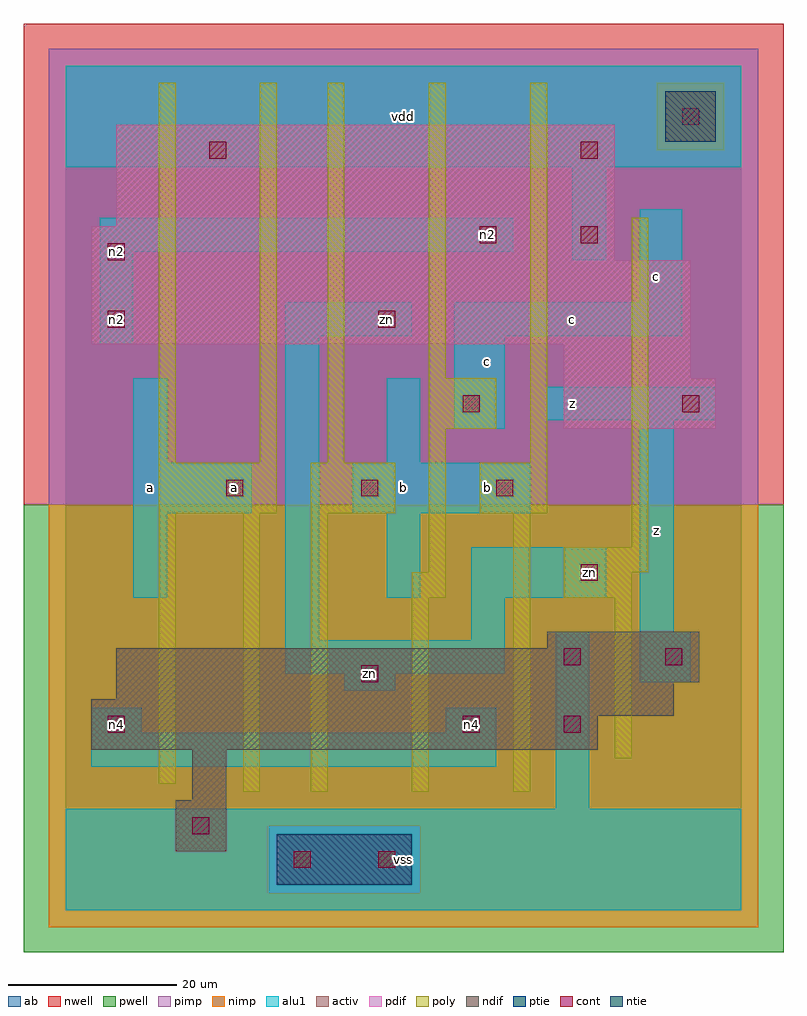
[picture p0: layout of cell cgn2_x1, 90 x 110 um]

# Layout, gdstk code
import gdstk
lib = gdstk.Library(unit=1e-6, precision=1e-09)
def R(c, l, rs):  # rectangles x0, y0, x1, y1
    for r in rs: c.add(gdstk.rectangle(r[:2], r[2:], *l))
def A(c, l, x, y, w, h, nx, ny, dx, dy):  # array of equal rectangles
    R(c, l, [(x+i*dx, y+j*dy, x+i*dx+w, y+j*dy+h) for i in range(nx) for j in range(ny)])
ndif = (3, 0)
pdif = (4, 0)
ntie = (5, 0)
ptie = (6, 0)
cont = (25, 0)
pwell = (41, 0)
nwell = (42, 0)
activ = (43, 0)
pimp = (44, 0)
nimp = (45, 0)
poly = (46, 0)
alu1 = (49, 0)
ab = (63, 0)

cgn2_x1 = lib.new_cell('cgn2_x1')
R(cgn2_x1, ndif, [(13,7,19,13), (15,13,19,19), (3,19,63,23), (3,23,72,25), (6,25,72,27), (6,27,75,31), (57,31,75,33)])
R(cgn2_x1, pdif, [(59,57,77,63), (59,63,74,67), (3,67,74,77), (3,77,65,81), (6,81,65,93)])
R(cgn2_x1, ntie, [(71,91,77,97)])
R(cgn2_x1, ptie, [(25,3,41,9)])
A(cgn2_x1, cont, 19, 49, 2, 2, 3, 1, 16, 0)
R(cgn2_x1, cont, [(27,5,29,7), (37,5,39,7), (15,9,17,11), (5,21,7,23), (47,21,49,23), (59,21,61,23), (35,27,37,29), (59,29,61,31), (71,29,73,31), (61,39,63,41), (47,59,49,61), (73,59,75,61), (5,69,7,71), (37,69,39,71), (5,77,7,79), (49,79,51,81), (61,79,63,81), (17,89,19,91), (61,89,63,91), (73,93,75,95)])
R(cgn2_x1, pwell, [(-5,-5,85,48)])
R(cgn2_x1, nwell, [(-5,48,85,105)])
R(cgn2_x1, activ, [(25,3,41,9), (13,7,19,13), (15,13,19,19), (3,19,63,23), (3,23,72,25), (6,25,72,27), (6,27,75,31), (57,31,75,33), (59,57,77,63), (59,63,74,67), (3,67,74,77), (3,77,65,81), (6,81,65,93), (71,91,77,97)])
R(cgn2_x1, pimp, [(24,2,42,10), (-2,48,82,90), (-2,90,70,98), (78,90,82,98), (-2,98,82,102)])
R(cgn2_x1, nimp, [(-2,-2,82,2), (-2,2,24,10), (42,2,82,10), (-2,10,82,48), (70,90,78,98)])
R(cgn2_x1, poly, [(21,14,23,47), (29,14,31,47), (41,14,43,37), (53,14,55,47), (11,15,13,47), (65,18,67,37), (41,37,45,40), (59,37,67,40), (43,40,45,57), (59,40,69,43), (67,43,69,82), (11,47,25,53), (29,47,39,53), (49,47,57,53), (11,53,13,98), (23,53,25,98), (31,53,33,98), (55,53,57,98), (43,57,51,63), (43,63,45,98)])
R(cgn2_x1, alu1, [(0,0,80,12), (58,12,62,33), (3,17,51,21), (3,21,9,24), (45,21,51,24), (33,26,39,28), (68,27,74,33), (26,28,52,32), (26,32,30,68), (48,32,52,37), (68,33,72,58), (8,37,12,47), (38,37,42,47), (48,37,64,43), (8,47,22,53), (34,47,55,53), (8,53,12,63), (38,53,42,63), (46,57,52,68), (57,58,77,62), (4,67,8,78), (26,68,41,72), (46,68,73,72), (68,72,73,83), (60,77,64,88), (4,78,53,82), (0,88,80,100)])
R(cgn2_x1, ab, [(0,0,80,100)])
cgn2_x1.add(gdstk.Label('n4', (6,22), layer=49, texttype=0))
cgn2_x1.add(gdstk.Label('n2', (6,70), layer=49, texttype=0))
cgn2_x1.add(gdstk.Label('n2', (6,78), layer=49, texttype=0))
cgn2_x1.add(gdstk.Label('zn', (36,28), layer=49, texttype=0))
cgn2_x1.add(gdstk.Label('n4', (48,22), layer=49, texttype=0))
cgn2_x1.add(gdstk.Label('zn', (38,70), layer=49, texttype=0))
cgn2_x1.add(gdstk.Label('n2', (50,80), layer=49, texttype=0))
cgn2_x1.add(gdstk.Label('zn', (62,40), layer=49, texttype=0))
cgn2_x1.add(gdstk.Label('a', (10,50), layer=49, texttype=0))
cgn2_x1.add(gdstk.Label('a', (20,50), layer=49, texttype=0))
cgn2_x1.add(gdstk.Label('vss', (40,6), layer=49, texttype=0))
cgn2_x1.add(gdstk.Label('b', (50,50), layer=49, texttype=0))
cgn2_x1.add(gdstk.Label('b', (40,50), layer=49, texttype=0))
cgn2_x1.add(gdstk.Label('c', (50,65), layer=49, texttype=0))
cgn2_x1.add(gdstk.Label('vdd', (40,94), layer=49, texttype=0))
cgn2_x1.add(gdstk.Label('z', (70,45), layer=49, texttype=0))
cgn2_x1.add(gdstk.Label('z', (60,60), layer=49, texttype=0))
cgn2_x1.add(gdstk.Label('c', (60,70), layer=49, texttype=0))
cgn2_x1.add(gdstk.Label('c', (70,75), layer=49, texttype=0))

lib.write_gds('cgn2_x1.gds')
